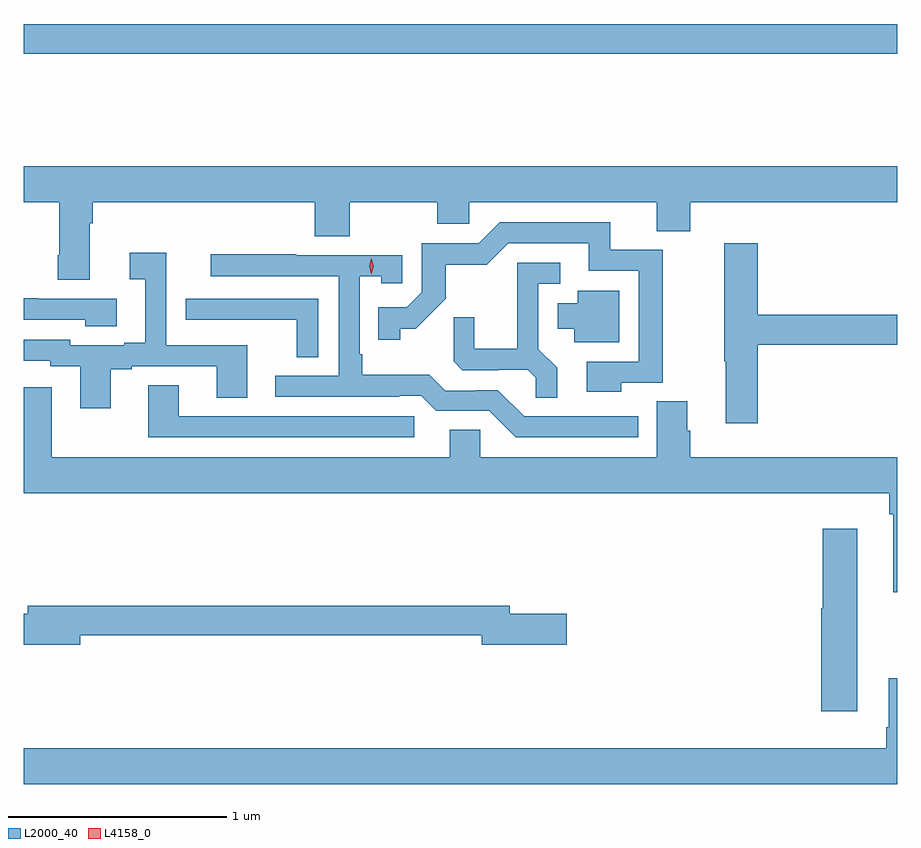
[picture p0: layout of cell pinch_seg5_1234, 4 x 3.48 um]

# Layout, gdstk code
import gdstk
lib = gdstk.Library(unit=1e-6, precision=1e-09)
def R(c, l, rs):  # rectangles x0, y0, x1, y1
    for r in rs: c.add(gdstk.rectangle(r[:2], r[2:], *l))
def P(c, l, *ps):  # polygons
    for p in ps: c.add(gdstk.Polygon(p, *l))
L2000_40 = (2000, 40)
L4158_0 = (4158, 0)

pinch_seg5_1234 = lib.new_cell('pinch_seg5_1234')
R(pinch_seg5_1234, L2000_40, [(383.248,870.76,387.248,870.896)])
P(pinch_seg5_1234, L2000_40, [(383.551,869.984),(383.564,869.984),(383.564,870.08),(384.581,870.08),(384.581,869.923),(384.741,869.923),(384.741,870.08),(385.141,870.08),(385.141,869.982),(385.287,869.982),(385.287,870.08),(386.147,870.08),(386.147,869.947),(386.3,869.947),(386.3,870.08),(387.248,870.08),(387.248,870.244),(383.248,870.244),(383.248,870.08),(383.411,870.08),(383.411,869.836),(383.404,869.836),(383.404,869.724),(383.551,869.724)],
  [(385.983,869.253),(386.173,869.253),(386.173,869.862),(385.934,869.862),(385.934,869.988),(385.428,869.988),(385.332,869.892),(385.071,869.892),(385.071,869.667),(385.002,869.598),(384.871,869.598),(384.871,869.451),(384.972,869.451),(384.972,869.501),(385.042,869.501),(385.18,869.638),(385.18,869.794),(385.369,869.794),(385.467,869.892),(385.835,869.892),(385.835,869.766),(386.064,869.766),(386.064,869.349),(385.827,869.349),(385.827,869.213),(385.983,869.213)],
  [(386.609,869.428),(387.248,869.428),(387.248,869.564),(386.609,869.564),(386.609,869.893),(386.455,869.893),(386.455,869.351),(386.462,869.351),(386.462,869.067),(386.609,869.067)],
  [(383.647,869.316),(383.743,869.316),(383.743,869.328),(384.131,869.328),(384.131,869.185),(384.271,869.185),(384.271,869.424),(383.901,869.424),(383.901,869.848),(383.733,869.848),(383.733,869.728),(383.804,869.728),(383.804,869.437),(383.708,869.437),(383.708,869.424),(383.46,869.424),(383.46,869.451),(383.248,869.451),(383.248,869.355),(383.37,869.355),(383.37,869.328),(383.507,869.328),(383.507,869.136),(383.647,869.136)],
  [(386.062,869.1),(385.539,869.1),(385.419,869.22),(385.318,869.22),(385.318,869.217),(385.179,869.217),(385.106,869.29),(384.799,869.29),(384.799,869.383),(384.786,869.383),(384.786,869.741),(384.885,869.741),(384.885,869.709),(384.981,869.709),(384.981,869.838),(384.497,869.838),(384.497,869.841),(384.105,869.841),(384.105,869.742),(384.69,869.742),(384.69,869.286),(384.399,869.286),(384.399,869.19),(384.968,869.19),(384.968,869.193),(385.068,869.193),(385.137,869.124),(385.38,869.124),(385.5,869.004),(386.062,869.004)],
  [(385.691,869.321),(385.605,869.407),(385.605,869.706),(385.705,869.706),(385.705,869.802),(385.508,869.802),(385.508,869.41),(385.31,869.41),(385.31,869.553),(385.216,869.553),(385.216,869.351),(385.257,869.31),(385.422,869.31),(385.422,869.313),(385.556,869.313),(385.593,869.276),(385.593,869.185),(385.691,869.185)],
  [(385.975,869.674),(385.784,869.674),(385.784,869.617),(385.694,869.617),(385.694,869.501),(385.769,869.501),(385.769,869.438),(385.975,869.438)],
  [(383.674,869.637),(383.315,869.637),(383.315,869.64),(383.248,869.64),(383.248,869.541),(383.529,869.541),(383.529,869.513),(383.674,869.513)],
  [(384.597,869.637),(383.991,869.637),(383.991,869.542),(384.103,869.542),(384.103,869.541),(384.499,869.541),(384.499,869.371),(384.597,869.371)],
  [(385.036,869.1),(383.959,869.1),(383.959,869.243),(383.819,869.243),(383.819,869.004),(385.036,869.004)],
  [(386.3,869.034),(386.287,869.034),(386.287,869.168),(386.147,869.168),(386.147,868.912),(385.338,868.912),(385.338,869.039),(385.199,869.039),(385.199,868.912),(383.377,868.912),(383.377,869.233),(383.248,869.233),(383.248,868.748),(387.211,868.748),(387.211,868.652),(387.23,868.652),(387.23,868.293),(387.248,868.293),(387.248,868.912),(386.3,868.912)],
  [(387.064,868.585),(386.906,868.585),(386.906,868.221),(386.9,868.221),(386.9,867.75),(387.064,867.75)],
  [(383.506,868.096),(385.346,868.096),(385.346,868.054),(385.735,868.054),(385.735,868.196),(385.474,868.196),(385.474,868.232),(383.267,868.232),(383.267,868.196),(383.248,868.196),(383.248,868.054),(383.506,868.054)],
  [(387.248,867.901),(387.209,867.901),(387.209,867.676),(387.197,867.676),(387.197,867.58),(383.248,867.58),(383.248,867.416),(387.248,867.416)])
P(pinch_seg5_1234, L4158_0, [(384.84,869.751),(384.84,869.751),(384.83,869.787),(384.84,869.823),(384.84,869.823),(384.84,869.823),(384.85,869.787),(384.84,869.751)])

lib.write_gds('pinch_seg5_1234.gds')
